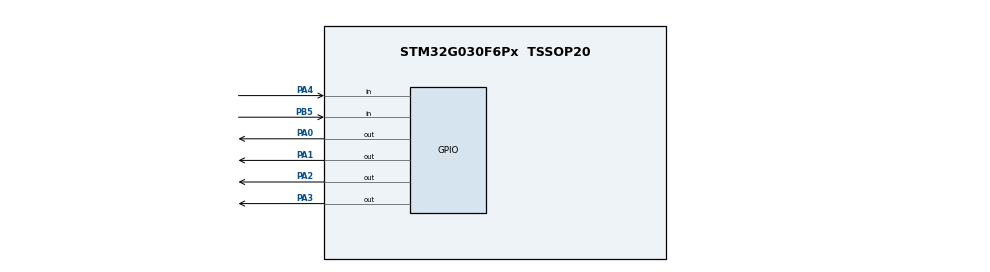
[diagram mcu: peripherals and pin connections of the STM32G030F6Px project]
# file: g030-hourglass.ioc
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Mcu.Family=STM32G0
Mcu.Name=STM32G030F6Px
Mcu.Package=TSSOP20
PA0.GPIO_ModeDefaultOutputPP=GPIO_MODE_OUTPUT_OD
PA0.GPIO_PuPd=GPIO_NOPULL
PA0.Signal=GPIO_Output
PA1.GPIO_ModeDefaultOutputPP=GPIO_MODE_OUTPUT_OD
PA1.GPIO_PuPd=GPIO_NOPULL
PA1.Signal=GPIO_Output
PA13.Mode=Serial_Wire
PA13.Signal=SYS_SWDIO
PA14-BOOT0.Mode=Serial_Wire
PA14-BOOT0.Signal=SYS_SWCLK
PA14-BOOT0__PA15.StandardMode=true
PA2.GPIO_ModeDefaultOutputPP=GPIO_MODE_OUTPUT_OD
PA2.GPIO_PuPd=GPIO_NOPULL
PA2.Signal=GPIO_Output
PA3.GPIO_ModeDefaultOutputPP=GPIO_MODE_OUTPUT_OD
PA3.GPIO_PuPd=GPIO_NOPULL
PA3.Signal=GPIO_Output
PA4.Signal=GPIO_Input
PB0__PB1__PB2__PA8.StandardMode=true
PB3__PB4__PB5__PB6.StandardMode=true
PB5.Signal=GPIO_Input
PB7__PB8.StandardMode=true
PC14-OSC32_IN\ (PC14)__PB9.StandardMode=true
ProjectManager.HeapSize=0x200
ProjectManager.StackSize=0x400
ProjectManager.TargetToolchain=MDK-ARM V5.32
RCC.AHBFreq_Value=16000000
RCC.CortexFreq_Value=16000000
RCC.EXTERNAL_CLOCK_VALUE=12288000
RCC.HCLKFreq_Value=16000000
RCC.HSE_VALUE=8000000
RCC.HSI_VALUE=16000000
RCC.LSE_VALUE=32768
RCC.SYSCLKFreq_VALUE=16000000
RCC.VCOOutputFreq_Value=128000000
board=custom

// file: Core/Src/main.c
/* USER CODE BEGIN Header */
/**
  ******************************************************************************
  * @file           : main.c
  * @brief          : Main program body
  ******************************************************************************
  * @attention
  *
  * Copyright (c) 2025 STMicroelectronics.
  * All rights reserved.
  *
  * This software is licensed under terms that can be found in the LICENSE file
  * in the root directory of this software component.
  * If no LICENSE file comes with this software, it is provided AS-IS.
  *
  ******************************************************************************
  */
/* USER CODE END Header */
#include "main.h"
#include "gpio.h"

/* USER CODE BEGIN Includes */
#include "TM1640.h"
/* USER CODE END Includes */

/* USER CODE BEGIN PD */
/* User-adjustable settings. Duration is nominal gate time, not a precision timer. */
/* 1: scan physical rows/columns; 0: run the hourglass. */
#define HG_DISPLAY_TEST      0
#define HG_GRAIN_COUNT       32U
#define HG_DURATION_MS       60000UL
#define HG_ANIMATION_MS      40UL
#define HG_DEBOUNCE_MS       80UL
#define HG_GATE_MS           (HG_DURATION_MS / HG_GRAIN_COUNT)

#if HG_GRAIN_COUNT < 1 || HG_GRAIN_COUNT > 64
#error HG_GRAIN_COUNT_must_be_1_to_64
#endif
#if HG_DURATION_MS < HG_GRAIN_COUNT
#error HG_DURATION_MS_is_too_short
#endif
/* USER CODE END PD */

/* USER CODE BEGIN PV */

/* Kept visible for debugger inspection: raw inputs and accepted orientation. */
volatile uint8_t PA4, PB5, last_state = 0;
volatile uint32_t hourglass_ms = 0;
/* Mapping test: axis 0 = ROW, 1 = COL; index 1..8, 0 = blank gap. */
volatile uint8_t hg_test_axis = 0;
volatile uint8_t hg_test_index = 0;

/* Bit c of sand[module][r] is ROW(r+1)/COL(c+1). */
static uint8_t sand[2][8];
static uint8_t initialized;
static uint8_t candidate;
static uint8_t gravity;
static uint32_t candidate_since;
static uint32_t previous_ms;
static uint32_t animation_ms;
static uint32_t gate_ms;
static uint32_t random_state = 0x13579BDFUL;

enum { HG_PAUSED = 0, HG_DOWN = 1, HG_UP = 2 };

tm1640_hw_dat tm1640_m1 = {
	.DIN_GPIOx = GPIOA,
	.CLK_GPIOx = GPIOA,
	.DIN_PIN = LL_GPIO_PIN_3,
	.CLK_PIN = LL_GPIO_PIN_2,
};

tm1640_hw_dat tm1640_m2 = {
	.DIN_GPIOx = GPIOA,
	.CLK_GPIOx = GPIOA,
	.DIN_PIN = LL_GPIO_PIN_1,
	.CLK_PIN = LL_GPIO_PIN_0,
};

/* USER CODE END PV */

void SystemClock_Config(void);

/* USER CODE BEGIN 0 */
static uint8_t HG_ReadOrientation(void)
{
    PA4 = (uint8_t)LL_GPIO_IsInputPinSet(GPIOA, LL_GPIO_PIN_4);
    PB5 = (uint8_t)LL_GPIO_IsInputPinSet(GPIOB, LL_GPIO_PIN_5);
    /* Direction polarity corrected from the assembled hardware test. */
    if (!PA4 && PB5) return HG_UP;
    if (PA4 && !PB5) return HG_DOWN;
    return HG_PAUSED;
}

static uint8_t HG_RandomBit(void)
{
    random_state ^= random_state << 13;
    random_state ^= random_state >> 17;
    random_state ^= random_state << 5;
    return (uint8_t)(random_state & 1U);
}

static uint8_t HG_TryMove(uint8_t module, int r, int c, int nr, int nc)
{
    if (nr < 0 || nr >= 8 || nc < 0 || nc >= 8) return 0;
    if (sand[module][nr] & (1U << nc)) return 0;
    sand[module][r] &= (uint8_t)~(1U << c);
    sand[module][nr] |= (uint8_t)(1U << nc);
    return 1;
}

static uint8_t HG_StepChamber(uint8_t module, uint8_t direction)
{
    int dr = (direction == HG_DOWN) ? 1 : -1;
    int dc = -dr;
    uint8_t changed = 0;

    /* Visit the gravity-facing edge first: a moved grain cannot move twice. */
    for (int ri = 0; ri < 8; ++ri)
    {
        int r = (direction == HG_DOWN) ? 7 - ri : ri;
        for (int ci = 0; ci < 8; ++ci)
        {
            int c = (direction == HG_DOWN) ? ci : 7 - ci;
            if (!(sand[module][r] & (1U << c))) continue;
            if (HG_TryMove(module, r, c, r + dr, c + dc))
            {
                changed = 1;
                continue;
            }
            /* Both alternatives are physically downhill in the diamond. */
            if (HG_RandomBit())
            {
                changed |= HG_TryMove(module, r, c, r + dr, c) ||
                           HG_TryMove(module, r, c, r, c + dc);
            }
            else
            {
                changed |= HG_TryMove(module, r, c, r, c + dc) ||
                           HG_TryMove(module, r, c, r + dr, c);
            }
        }
    }
    return changed;
}

static void HG_Seed(uint8_t direction)
{
    uint8_t module = (direction == HG_DOWN) ? 0 : 1;
    uint8_t count = 0;

    /* Fill the lowest cells of the upper chamber, starting at its outlet. */
    for (int level = 7; level >= -7; --level)
    {
        for (int r = 0; r < 8; ++r)
        {
            int c = r - level;
            if (c < 0 || c >= 8) continue;
            int rr = (direction == HG_DOWN) ? r : 7 - r;
            int cc = (direction == HG_DOWN) ? c : 7 - c;
            sand[module][rr] |= (uint8_t)(1U << cc);
            if (++count == HG_GRAIN_COUNT) return;
        }
    }
}

static uint8_t HG_Transfer(uint8_t direction)
{
    /* A(8,1) <-> B(1,8); transfer only when the destination is empty. */
    if (direction == HG_DOWN)
    {
        if (!(sand[0][7] & 0x01U) || (sand[1][0] & 0x80U)) return 0;
        sand[0][7] &= (uint8_t)~0x01U;
        sand[1][0] |= 0x80U;
    }
    else
    {
        if (!(sand[1][0] & 0x80U) || (sand[0][7] & 0x01U)) return 0;
        sand[1][0] &= (uint8_t)~0x80U;
        sand[0][7] |= 0x01U;
    }
    return 1;
}

static void HG_Render(void)
{
    /* Logical chambers A/B are routed to M2/M1 after hardware feedback. */
    TM1640_display_frame(&tm1640_m2, sand[0]);
    TM1640_display_frame(&tm1640_m1, sand[1]);
}

#if HG_DISPLAY_TEST
static void HG_DisplayMappingTest(void)
{
    uint8_t rows[8];
    for (uint8_t axis = 0; axis < 2; ++axis)
    {
        hg_test_axis = axis;
        for (uint8_t index = 0; index < 8; ++index)
        {
            for (uint8_t r = 0; r < 8; ++r)
                rows[r] = (axis == 0) ? ((r == index) ? 0xFFU : 0U)
                                     : (uint8_t)(1U << index);
            TM1640_display_frame(&tm1640_m1, rows);
            TM1640_display_frame(&tm1640_m2, rows);
            hg_test_index = index + 1U;
            LL_mDelay(1500);

            for (uint8_t r = 0; r < 8; ++r) rows[r] = 0;
            TM1640_display_frame(&tm1640_m1, rows);
            TM1640_display_frame(&tm1640_m2, rows);
            hg_test_index = 0;
            LL_mDelay(300);
        }
        LL_mDelay(2000);
    }
}
#endif

static void HG_Update(void)
{
    uint32_t now = hourglass_ms;
    uint32_t elapsed = now - previous_ms;
    uint8_t raw = HG_ReadOrientation();
    uint8_t changed;
    previous_ms = now;

    if (raw != candidate)
    {
        candidate = raw;
        candidate_since = now;
    }

    /* Freeze immediately on an uncertain reading; resume after debounce. */
    if (raw == HG_PAUSED || (uint32_t)(now - candidate_since) < HG_DEBOUNCE_MS)
    {
        last_state = HG_PAUSED;
        return;
    }

    if (last_state != raw) elapsed = 0;
    last_state = raw;
    if (gravity != raw)
    {
        gravity = raw;
        gate_ms = 0;
        animation_ms = 0;
    }

    if (!initialized)
    {
        HG_Seed(gravity);
        initialized = 1;
        HG_Render();
        previous_ms = hourglass_ms;
        return;
    }

    /* Pause preserves partial gate time. Reversal starts a new gate interval. */
    if (gate_ms < HG_GATE_MS)
    {
        uint32_t remaining = HG_GATE_MS - gate_ms;
        gate_ms += (elapsed < remaining) ? elapsed : remaining;
    }
    animation_ms += elapsed;
    if (animation_ms < HG_ANIMATION_MS) return;
    animation_ms %= HG_ANIMATION_MS;

    changed = HG_StepChamber(0, gravity);
    changed |= HG_StepChamber(1, gravity);
    /* Transfer after movement so a new arrival moves only on the next frame. */
    if (gate_ms >= HG_GATE_MS && HG_Transfer(gravity))
    {
        gate_ms = 0;
        changed = 1;
    }
    if (changed) HG_Render();
}
/* USER CODE END 0 */

int main(void)
{

  /* MCU Configuration--------------------------------------------------------*/

  /* Reset of all peripherals, Initializes the Flash interface and the Systick. */
  LL_APB2_GRP1_EnableClock(LL_APB2_GRP1_PERIPH_SYSCFG);
  LL_APB1_GRP1_EnableClock(LL_APB1_GRP1_PERIPH_PWR);

  /* SysTick_IRQn interrupt configuration */
  NVIC_SetPriority(SysTick_IRQn, 3);

  /* Configure the system clock */
  SystemClock_Config();

  /* USER CODE BEGIN SysInit */
  //EventRecorderInitialize(EventRecordAll, 1);
  //EventRecorderStart();
  /* USER CODE END SysInit */

  /* Initialize all configured peripherals */
  MX_GPIO_Init();
  /* USER CODE BEGIN 2 */
  /* SysTick already runs at 1 ms; enable its interrupt for application time. */
  LL_SYSTICK_EnableIT();
  HG_Render();
  previous_ms = hourglass_ms;
  candidate_since = previous_ms;
/* USER CODE END 2 */

  /* Infinite loop */
  while (1)
  {

    /* USER CODE BEGIN 3 */
#if HG_DISPLAY_TEST
    HG_DisplayMappingTest();
#else
    HG_Update();
    LL_mDelay(1);
#endif
  }
/* USER CODE END 3 */
}

void SystemClock_Config(void)
{
  /* HSI configuration and activation */
  LL_RCC_HSI_Enable();
  while(LL_RCC_HSI_IsReady() != 1)
  {
  }

  /* Set AHB prescaler*/
  LL_RCC_SetAHBPrescaler(LL_RCC_SYSCLK_DIV_1);

  /* Sysclk activation on the HSI */
  LL_RCC_SetSysClkSource(LL_RCC_SYS_CLKSOURCE_HSI);
  while(LL_RCC_GetSysClkSource() != LL_RCC_SYS_CLKSOURCE_STATUS_HSI)
  {
  }

  /* Set APB1 prescaler*/
  LL_RCC_SetAPB1Prescaler(LL_RCC_APB1_DIV_1);

  LL_Init1msTick(16000000);

  /* Update CMSIS variable (which can be updated also through SystemCoreClockUpdate function) */
  LL_SetSystemCoreClock(16000000);
}

void Error_Handler(void)
{
  __disable_irq();
  while (1)
  {
  }
}
